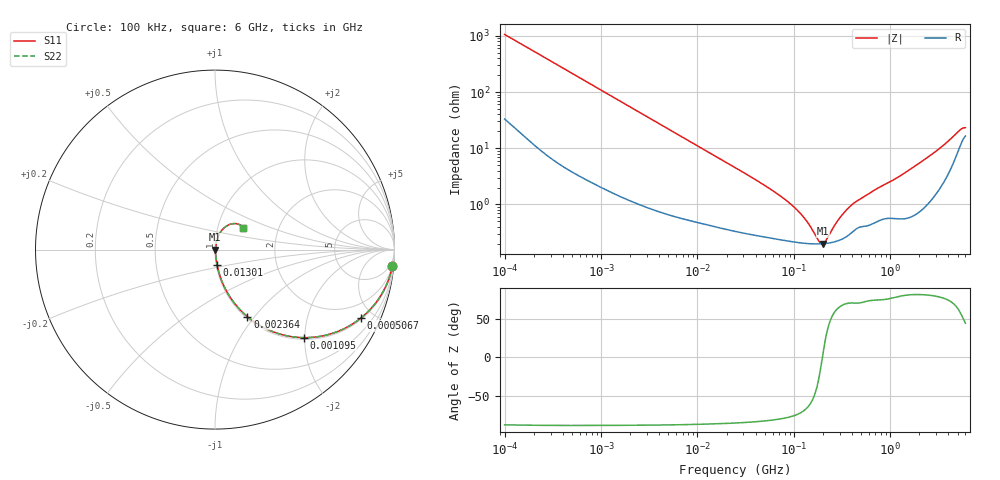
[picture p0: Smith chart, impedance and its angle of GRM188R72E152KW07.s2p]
!Murata Part Number: GRM188R72E152KW07
!These Parameters are Measured in Series Mode Connection
!Data Generated on Mar 30, 2021
!  o--ll--o
!Port1  Port2
!  o------o
!Operation Temp=25[degC], DC Bias Voltage=0[V]
!Freq. Start=100[kHz] Stop=6[GHz] 401[Steps]
# Hz S RI R 50
!Freq.(Hz) S11(Real) S11(Imag) S21(Real) S21(Imag) S12(Real) S12(Imag) S22(Real) S22(Imag)
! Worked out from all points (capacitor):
!   401 points, 100 kHz to 6 GHz, reference 50 ohm
!   read as one part in series: C = 1.5 nF near 105.7 kHz
!   lowest |Z| = 200 mohm at 198.1 MHz (marker M1)
!   series resonance near 197.3 MHz, so ESL is about 430 pH
!   S11 on the Smith chart (normalised r, x): 100 kHz: 2, -21; 506.7 kHz: 1.07, -4.24; 1.095 MHz: 1.04, -1.98; 2.364 MHz: 1.02, -0.92; 13.01 MHz: 1.01, -0.17; 6 GHz: 1.33, +0.33
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100000  0.9882 -0.0933  0.0118 0.0933  0.0118 0.0933  0.9882 -0.0933
261871  0.9395 -0.2289  0.0605 0.2289  0.0605 0.2289  0.9395 -0.2289
506731  0.8138 -0.3806  0.1862 0.3806  0.1862 0.3806  0.8138 -0.3806
631452  0.7403 -0.4297  0.2597 0.4297  0.2597 0.4297  0.7403 -0.4297
1094581  0.4943 -0.4906  0.5057 0.4906  0.5057 0.4906  0.4943 -0.4906
1522623  0.3399 -0.4638  0.6601 0.4638  0.6601 0.4638  0.3399 -0.4638
2364387  0.1807 -0.3737  0.8193 0.3737  0.8193 0.3737  0.1807 -0.3737
3987316  0.0761 -0.252  0.9239 0.252  0.9239 0.252  0.0761 -0.252
1.301164e7  0.0114 -0.084  0.9886 0.084  0.9886 0.084  0.0114 -0.084
2.517799e7  0.0052 -0.0438  0.9948 0.0438  0.9948 0.0438  0.0052 -0.0438
8.680865e7  0.00235 -0.0109  0.9977 0.0109  0.9977 0.0109  0.00235 -0.0109
1.207557e8  0.00209 -0.00613  0.9979 0.00613  0.9979 0.00613  0.00209 -0.00613
1.546735e8  0.002 -0.00298  0.998 0.00298  0.998 0.00298  0.002 -0.00298
1.824266e8  0.00199 -0.000955  0.998 0.000955  0.998 0.000955  0.00199 -0.000955
1.981182e8  0.002 4.9e-05  0.998 -4.9e-05  0.998 -4.9e-05  0.002 4.9e-05
2.151595e8  0.00202 0.00106  0.998 -0.00106  0.998 -0.00106  0.00202 0.00106
2.992988e8  0.00234 0.00528  0.9977 -0.00528  0.9977 -0.00528  0.00234 0.00528
3.833659e8  0.00306 0.00873  0.9969 -0.00873  0.9969 -0.00873  0.00306 0.00873
9.76689e8  0.00622 0.024  0.9938 -0.024  0.9938 -0.024  0.00622 0.024
3.367428e9  0.0302 0.0974  0.9698 -0.0974  0.9698 -0.0974  0.0302 0.0974
5.087202e9  0.1077 0.145  0.8923 -0.145  0.8923 -0.145  0.1077 0.145
6e9  0.1579 0.1182  0.8421 -0.1182  0.8421 -0.1182  0.1579 0.1182
